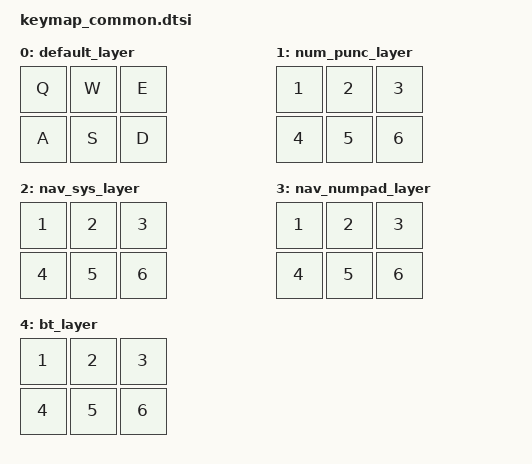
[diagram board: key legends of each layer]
/*
 * Copyright (c) 2020 The ZMK Contributors
 *
 * SPDX-License-Identifier: MIT
 */

#include <behaviors.dtsi>
#include <dt-bindings/zmk/keys.h>
#include <dt-bindings/zmk/bt.h>
#include <dt-bindings/zmk/mouse.h>

/ {
        
    keymap {
        compatible = "zmk,keymap";

        default_layer {
            bindings = <
                &kp Q   &kp W  &kp E
                &kp A   &kp S  &kp D
                >;
        };

        // Numbers and punctuations each on separate row
        num_punc_layer {
            bindings = <
                &kp N1   &kp N2  &kp N3
                &kp N4   &kp N5  &kp N6
                >;
        };

        nav_sys_layer {
            bindings = <
                &kp N1   &kp N2  &kp N3
                &kp N4   &kp N5  &kp N6
                >;
        };

        nav_numpad_layer {
            bindings = <
                &kp N1   &kp N2  &kp N3
                &kp N4   &kp N5  &kp N6
                >;
        };

        bt_layer {
            bindings = <
                &kp N1   &kp N2  &kp N3
                &kp N4   &kp N5  &kp N6
                >;
        };

    };

};
